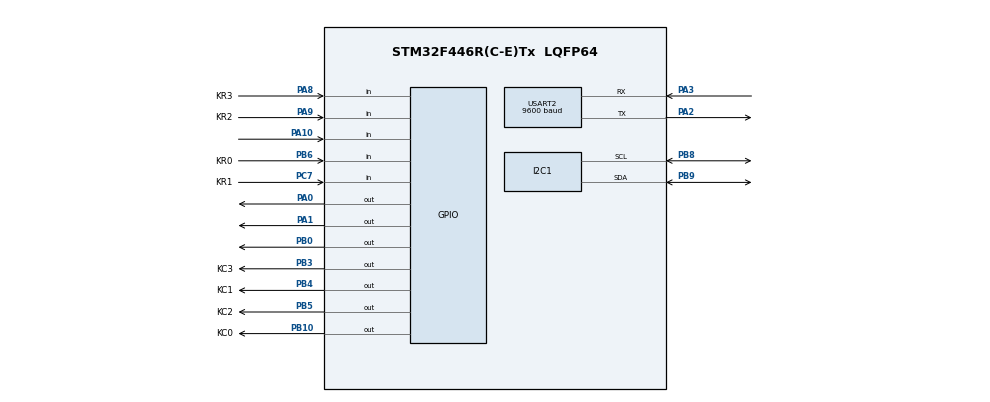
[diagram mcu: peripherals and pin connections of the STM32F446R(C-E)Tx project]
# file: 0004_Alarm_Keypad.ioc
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FREERTOS.Tasks01=defaultTask,8,128,StartDefaultTask,Default,NULL,Dynamic,NULL,NULL;myTask02,24,128,StartTask02,Default,NULL,Dynamic,NULL,NULL;buzzer,8,128,StartTask03,Default,NULL,Dynamic,NULL,NULL;sensor,8,128,StartTask04,Default,NULL,Dynamic,NULL,NULL
I2C1.I2C_Mode=I2C_Fast
Mcu.Family=STM32F4
Mcu.Name=STM32F446R(C-E)Tx
Mcu.Package=LQFP64
NVIC.PriorityGroup=NVIC_PRIORITYGROUP_4
NVIC.TIM6_DAC_IRQn=true\:15\:0\:false\:false\:true\:false\:false\:true\:true
NVIC.TimeBase=TIM6_DAC_IRQn
NVIC.TimeBaseIP=TIM6
PA0-WKUP.Signal=GPIO_Output
PA1.Signal=GPIO_Output
PA10.Signal=GPIO_Input
PA13.Mode=Serial_Wire
PA13.Signal=SYS_JTMS-SWDIO
PA14.Mode=Serial_Wire
PA14.Signal=SYS_JTCK-SWCLK
PA2.Mode=Asynchronous
PA2.Signal=USART2_TX
PA3.Mode=Asynchronous
PA3.Signal=USART2_RX
PA8.GPIO_Label=KR3
PA8.GPIO_PuPd=GPIO_PULLDOWN
PA8.Signal=GPIO_Input
PA9.GPIO_Label=KR2
PA9.GPIO_PuPd=GPIO_PULLDOWN
PA9.Signal=GPIO_Input
PB0.Signal=GPIO_Output
PB10.GPIO_Label=KC0
PB10.Signal=GPIO_Output
PB3.GPIO_Label=KC3
PB3.Signal=GPIO_Output
PB4.GPIO_Label=KC1
PB4.Signal=GPIO_Output
PB5.GPIO_Label=KC2
PB5.Signal=GPIO_Output
PB6.GPIO_Label=KR0
PB6.GPIO_PuPd=GPIO_PULLDOWN
PB6.Signal=GPIO_Input
PB8.Mode=I2C
PB8.Signal=I2C1_SCL
PB9.Mode=I2C
PB9.Signal=I2C1_SDA
PC14-OSC32_IN.Mode=LSE-External-Oscillator
PC14-OSC32_IN.Signal=RCC_OSC32_IN
PC15-OSC32_OUT.Mode=LSE-External-Oscillator
PC15-OSC32_OUT.Signal=RCC_OSC32_OUT
PC7.GPIO_Label=KR1
PC7.GPIO_PuPd=GPIO_PULLDOWN
PC7.Signal=GPIO_Input
PH0-OSC_IN.Mode=HSE-External-Oscillator
PH0-OSC_IN.Signal=RCC_OSC_IN
PH1-OSC_OUT.Mode=HSE-External-Oscillator
PH1-OSC_OUT.Signal=RCC_OSC_OUT
ProjectManager.HeapSize=0x200
ProjectManager.StackSize=0x400
ProjectManager.TargetToolchain=STM32CubeIDE
RCC.CortexFreq_Value=16000000
RCC.USBFreq_Value=96000000
RCC.VCOOutputFreq_Value=192000000
USART2.BaudRate=9600
USART2.VirtualMode=VM_ASYNC
VP_FREERTOS_VS_CMSIS_V2.Mode=CMSIS_V2
VP_SYS_VS_tim6.Mode=TIM6
board=NUCLEO-F446RE

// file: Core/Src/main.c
/* USER CODE BEGIN Header */
/**
  ******************************************************************************
  * @file           : main.c
  * @brief          : Main program body
  ******************************************************************************
  * @attention
  *
  * Copyright (c) 2024 STMicroelectronics.
  * All rights reserved.
  *
  * This software is licensed under terms that can be found in the LICENSE file
  * in the root directory of this software component.
  * If no LICENSE file comes with this software, it is provided AS-IS.
  *
  ******************************************************************************
  */
/* USER CODE END Header */
#include "main.h"
#include "cmsis_os.h"

/* USER CODE BEGIN Includes */
#include "Keypad4X4.h"
#include <stdio.h>
#include <string.h>
#include <stdlib.h>
#include "fonts.h"
#include "ssd1306.h"
#include "stdbool.h"

/* USER CODE END Includes */

I2C_HandleTypeDef hi2c1;

UART_HandleTypeDef huart2;

/* Definitions for defaultTask */
osThreadId_t defaultTaskHandle;
const osThreadAttr_t defaultTask_attributes = {
  .name = "defaultTask",
  .stack_size = 128 * 4,
  .priority = (osPriority_t) osPriorityLow,
};
/* Definitions for myTask02 */
osThreadId_t myTask02Handle;
const osThreadAttr_t myTask02_attributes = {
  .name = "myTask02",
  .stack_size = 128 * 4,
  .priority = (osPriority_t) osPriorityNormal,
};
/* Definitions for buzzer */
osThreadId_t buzzerHandle;
const osThreadAttr_t buzzer_attributes = {
  .name = "buzzer",
  .stack_size = 128 * 4,
  .priority = (osPriority_t) osPriorityLow,
};
/* Definitions for sensor */
osThreadId_t sensorHandle;
const osThreadAttr_t sensor_attributes = {
  .name = "sensor",
  .stack_size = 128 * 4,
  .priority = (osPriority_t) osPriorityHigh,
};

void SystemClock_Config(void);
static void MX_GPIO_Init(void);
static void MX_USART2_UART_Init(void);
static void MX_I2C1_Init(void);
void StartDefaultTask(void *argument);
void StartTask02(void *argument);
void StartTask03(void *argument);
void StartTask04(void *argument);

bool sensorTriggered = false;

int main(void)
{

  /* MCU Configuration--------------------------------------------------------*/

  /* Reset of all peripherals, Initializes the Flash interface and the Systick. */
  HAL_Init();

  /* Configure the system clock */
  SystemClock_Config();

  /* Initialize all configured peripherals */
  MX_GPIO_Init();
  MX_USART2_UART_Init();
  MX_I2C1_Init();
  /* USER CODE BEGIN 2 */
  /* USER CODE BEGIN 2 */

  /* USER CODE END 2 */

  /* Init scheduler */
  osKernelInitialize();

  /* Create the thread(s) */
  /* creation of defaultTask */
  defaultTaskHandle = osThreadNew(StartDefaultTask, NULL, &defaultTask_attributes);

  /* creation of myTask02 */
  myTask02Handle = osThreadNew(StartTask02, NULL, &myTask02_attributes);

  /* creation of buzzer */
  buzzerHandle = osThreadNew(StartTask03, NULL, &buzzer_attributes);

  /* creation of sensor */
  sensorHandle = osThreadNew(StartTask04, NULL, &sensor_attributes);

  /* Start scheduler */
  osKernelStart();
  osDelay(10000);
  sensorTriggered = true;

  /* We should never get here as control is now taken by the scheduler */

  /* Infinite loop */

}

void SystemClock_Config(void)
{
  RCC_OscInitTypeDef RCC_OscInitStruct = {0};
  RCC_ClkInitTypeDef RCC_ClkInitStruct = {0};

  /** Configure the main internal regulator output voltage
  */
  __HAL_RCC_PWR_CLK_ENABLE();
  __HAL_PWR_VOLTAGESCALING_CONFIG(PWR_REGULATOR_VOLTAGE_SCALE3);

  /** Initializes the RCC Oscillators according to the specified parameters
  * in the RCC_OscInitTypeDef structure.
  */
  RCC_OscInitStruct.OscillatorType = RCC_OSCILLATORTYPE_HSI;
  RCC_OscInitStruct.HSIState = RCC_HSI_ON;
  RCC_OscInitStruct.HSICalibrationValue = RCC_HSICALIBRATION_DEFAULT;
  RCC_OscInitStruct.PLL.PLLState = RCC_PLL_NONE;
  if (HAL_RCC_OscConfig(&RCC_OscInitStruct) != HAL_OK)
  {
    Error_Handler();
  }

  /** Initializes the CPU, AHB and APB buses clocks
  */
  RCC_ClkInitStruct.ClockType = RCC_CLOCKTYPE_HCLK|RCC_CLOCKTYPE_SYSCLK
                              |RCC_CLOCKTYPE_PCLK1|RCC_CLOCKTYPE_PCLK2;
  RCC_ClkInitStruct.SYSCLKSource = RCC_SYSCLKSOURCE_HSI;
  RCC_ClkInitStruct.AHBCLKDivider = RCC_SYSCLK_DIV1;
  RCC_ClkInitStruct.APB1CLKDivider = RCC_HCLK_DIV1;
  RCC_ClkInitStruct.APB2CLKDivider = RCC_HCLK_DIV1;

  if (HAL_RCC_ClockConfig(&RCC_ClkInitStruct, FLASH_LATENCY_0) != HAL_OK)
  {
    Error_Handler();
  }
}

static void MX_I2C1_Init(void)
{

  hi2c1.Instance = I2C1;
  hi2c1.Init.ClockSpeed = 400000;
  hi2c1.Init.DutyCycle = I2C_DUTYCYCLE_2;
  hi2c1.Init.OwnAddress1 = 0;
  hi2c1.Init.AddressingMode = I2C_ADDRESSINGMODE_7BIT;
  hi2c1.Init.DualAddressMode = I2C_DUALADDRESS_DISABLE;
  hi2c1.Init.OwnAddress2 = 0;
  hi2c1.Init.GeneralCallMode = I2C_GENERALCALL_DISABLE;
  hi2c1.Init.NoStretchMode = I2C_NOSTRETCH_DISABLE;
  if (HAL_I2C_Init(&hi2c1) != HAL_OK)
  {
    Error_Handler();
  }

}

static void MX_USART2_UART_Init(void)
{

  huart2.Instance = USART2;
  huart2.Init.BaudRate = 9600;
  huart2.Init.WordLength = UART_WORDLENGTH_8B;
  huart2.Init.StopBits = UART_STOPBITS_1;
  huart2.Init.Parity = UART_PARITY_NONE;
  huart2.Init.Mode = UART_MODE_TX_RX;
  huart2.Init.HwFlowCtl = UART_HWCONTROL_NONE;
  huart2.Init.OverSampling = UART_OVERSAMPLING_16;
  if (HAL_UART_Init(&huart2) != HAL_OK)
  {
    Error_Handler();
  }

}

static void MX_GPIO_Init(void)
{
  GPIO_InitTypeDef GPIO_InitStruct = {0};

  /* GPIO Ports Clock Enable */
  __HAL_RCC_GPIOC_CLK_ENABLE();
  __HAL_RCC_GPIOH_CLK_ENABLE();
  __HAL_RCC_GPIOA_CLK_ENABLE();
  __HAL_RCC_GPIOB_CLK_ENABLE();

  /*Configure GPIO pin Output Level */
  HAL_GPIO_WritePin(GPIOA, GPIO_PIN_0|GPIO_PIN_1, GPIO_PIN_RESET);

  /*Configure GPIO pin Output Level */
  HAL_GPIO_WritePin(GPIOB, GPIO_PIN_0|KC0_Pin|KC3_Pin|KC1_Pin
                          |KC2_Pin, GPIO_PIN_RESET);

  /*Configure GPIO pins : PA0 PA1 */
  GPIO_InitStruct.Pin = GPIO_PIN_0|GPIO_PIN_1;
  GPIO_InitStruct.Mode = GPIO_MODE_OUTPUT_PP;
  GPIO_InitStruct.Pull = GPIO_NOPULL;
  GPIO_InitStruct.Speed = GPIO_SPEED_FREQ_LOW;
  HAL_GPIO_Init(GPIOA, &GPIO_InitStruct);

  /*Configure GPIO pins : PB0 KC0_Pin KC3_Pin KC1_Pin
                           KC2_Pin */
  GPIO_InitStruct.Pin = GPIO_PIN_0|KC0_Pin|KC3_Pin|KC1_Pin
                          |KC2_Pin;
  GPIO_InitStruct.Mode = GPIO_MODE_OUTPUT_PP;
  GPIO_InitStruct.Pull = GPIO_NOPULL;
  GPIO_InitStruct.Speed = GPIO_SPEED_FREQ_LOW;
  HAL_GPIO_Init(GPIOB, &GPIO_InitStruct);

  /*Configure GPIO pin : KR1_Pin */
  GPIO_InitStruct.Pin = KR1_Pin;
  GPIO_InitStruct.Mode = GPIO_MODE_INPUT;
  GPIO_InitStruct.Pull = GPIO_PULLDOWN;
  HAL_GPIO_Init(KR1_GPIO_Port, &GPIO_InitStruct);

  /*Configure GPIO pins : KR3_Pin KR2_Pin */
  GPIO_InitStruct.Pin = KR3_Pin|KR2_Pin;
  GPIO_InitStruct.Mode = GPIO_MODE_INPUT;
  GPIO_InitStruct.Pull = GPIO_PULLDOWN;
  HAL_GPIO_Init(GPIOA, &GPIO_InitStruct);

  /*Configure GPIO pin : PA10 */
  GPIO_InitStruct.Pin = GPIO_PIN_10;
  GPIO_InitStruct.Mode = GPIO_MODE_INPUT;
  GPIO_InitStruct.Pull = GPIO_NOPULL;
  HAL_GPIO_Init(GPIOA, &GPIO_InitStruct);

  /*Configure GPIO pin : KR0_Pin */
  GPIO_InitStruct.Pin = KR0_Pin;
  GPIO_InitStruct.Mode = GPIO_MODE_INPUT;
  GPIO_InitStruct.Pull = GPIO_PULLDOWN;
  HAL_GPIO_Init(KR0_GPIO_Port, &GPIO_InitStruct);

}

/* USER CODE BEGIN 4 */
extern char key;
char hold[5];
char password[5];
bool armed = false;
//sensorTriggered = 0;
/* USER CODE END 4 */

void StartDefaultTask(void *argument)
{
  /* USER CODE BEGIN 5 */
  /* Infinite loop */

  for(;;)
  {
    osDelay(1);
    if (armed){
    	HAL_GPIO_WritePin(GPIOA,GPIO_PIN_0 , 1);
    	HAL_GPIO_WritePin(GPIOA,GPIO_PIN_1 , 0);
    }else {
    	HAL_GPIO_WritePin(GPIOA,GPIO_PIN_0 , 0);
    	HAL_GPIO_WritePin(GPIOA,GPIO_PIN_1 , 1);
    }

  }
  /* USER CODE END 5 */
}

void StartTask02(void *argument)
{
  /* USER CODE BEGIN StartTask02 */
  /* Infinite loop */
	SSD1306_Init();
	SSD1306_Clear();
	SSD1306_GotoXY (0, 0);
	SSD1306_Puts ("Enter Code:", &Font_11x18, 1);
	SSD1306_UpdateScreen();
	SSD1306_GotoXY (0, 40);
	int i = 0;
  for(;;)
  {
	   osDelay(10);

	  if(!armed){
		  key = Get_Key();
		  password[i] = key;
			  SSD1306_Puts (password+i, &Font_11x18, 1);
			  i++;
			  SSD1306_UpdateScreen();
			  if(strlen(password)>3){
				  i=0;
				  armed = true;
				  SSD1306_Clear();
				  SSD1306_GotoXY (0, 0);
				  SSD1306_Puts ("ARMED", &Font_11x18, 1);
				  SSD1306_UpdateScreen();
				  osDelay(1000);
				  SSD1306_Clear();
				  		  	SSD1306_GotoXY (0, 0);
				  		  	SSD1306_Puts ("Enter Code:", &Font_11x18, 1);
				  		  	SSD1306_UpdateScreen();
				  		  	SSD1306_GotoXY (0, 40);
				  		  	i = 0;
			  }
	  } else {
		  // armed

		  key = Get_Key();
		 	  	  hold[i] = key;
		 	  	  i++;
				  SSD1306_Puts ("*", &Font_11x18, 1);
		 	  	  SSD1306_UpdateScreen();
		 	  	  if(strlen(hold) > 3){
		 	  		  if (0 == strcmp(password,hold)){
//		 	  			  // give access
		 	  			SSD1306_Clear();
		 	  			SSD1306_GotoXY (0, 0);
		 	  			SSD1306_Puts ("NOT ARMED", &Font_11x18, 1);
		 	  			i=0;
		 	  			// reset the class variables
		 	  			armed=false;
		 	  			sensorTriggered = false;
		 	  			memset(hold, 0, 4);
		 	  			memset(password, 0, 4);
						SSD1306_UpdateScreen();
						osDelay(1000);
						SSD1306_Clear();
						SSD1306_GotoXY (0, 0);
						SSD1306_Puts ("Enter Code:", &Font_11x18, 1);
						SSD1306_UpdateScreen();
						SSD1306_GotoXY (0, 40);
						SSD1306_UpdateScreen();
		 	  		  }else{
		 	  			  //Wrong password
		 	  			  // clear hold and screen
		 	  			memset(hold, 0, 4);
		 	  			i=0;
		 	  			SSD1306_Clear();
						SSD1306_GotoXY (0, 0);
						SSD1306_Puts ("Wrong Code", &Font_11x18, 1);
						SSD1306_UpdateScreen();
						osDelay(1000);
		 	  			SSD1306_Clear();
		 				SSD1306_GotoXY (0, 0);
		 				SSD1306_Puts ("Enter Code:", &Font_11x18, 1);
		 				SSD1306_UpdateScreen();
		 				SSD1306_GotoXY (0, 40);
		 	  		  	SSD1306_UpdateScreen();
		 	  		  }
		 	  	  }
	  }
	  /* D10 to D7 as input pins for row 0 to row 3. D6 to D3 as output for column pins C1 to C3*/
	  osDelay(200);

  }
  /* USER CODE END StartTask02 */
}

void StartTask03(void *argument)
{
  /* USER CODE BEGIN StartTask03 */
  /* Infinite loop */
  for(;;)
  {

	  if(armed){
		  if (sensorTriggered){
			  // Activate Buzzer for 10 seconds
			  HAL_GPIO_WritePin(GPIOB, GPIO_PIN_0, 1);
			  osDelay(10000);
			  HAL_GPIO_WritePin(GPIOB, GPIO_PIN_0, 0);
		  } else {
				HAL_GPIO_WritePin(GPIOB, GPIO_PIN_0 , 0);
		  }
	  } else {
		  HAL_GPIO_WritePin(GPIOB, GPIO_PIN_0, 0);
	  }
	  osDelay(50);
  }
  /* USER CODE END StartTask03 */
}

void StartTask04(void *argument)
{
  /* USER CODE BEGIN StartTask04 */
  /* Infinite loop */
  for(;;)
  {
	osDelay(100);

	int value = HAL_GPIO_ReadPin(GPIOA, GPIO_PIN_10);

    if(armed){
		if (value) {
			//sensorTriggered = true; // Motion detected
			osDelay(500);
		} else {
			sensorTriggered = false;
		}
    }
    osDelay(50);
  }
  /* USER CODE END StartTask04 */
}

void HAL_TIM_PeriodElapsedCallback(TIM_HandleTypeDef *htim)
{
  if (htim->Instance == TIM6) {
    HAL_IncTick();
  }
}

void Error_Handler(void)
{
  __disable_irq();
  while (1)
  {
  }
}
